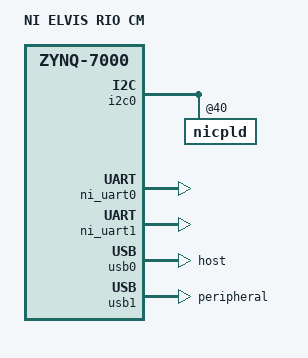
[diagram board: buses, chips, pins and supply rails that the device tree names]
/dts-v1/;
/include/ "ni-zynq.dtsi"

/ {
	model = "NI ELVIS RIO CM";
	compatible = "ni,zynq", "xlnx,zynq-7000";

	amba@0 {
		i2c0: i2c@e0004000 {
			nicpld@40 {
				watchdogs {
					boot-watchdog {
						interrupt-parent = <&gpio>;
						interrupts = <24 2 /* IRQ_TYPE_EDGE_FALLING */>;
					};
				};

				leds {
					status-1 {
						label = "nilrt:status:yellow";
						max-brightness = <0xFFFF>;
					};
				};
			};
		};
	};
};

&ni_uart0 {
	status = "okay";
	transceiver = "RS-232";
};

&ni_uart1 {
	status = "okay";
	transceiver = "RS-232";
};

&usb0 {
	status = "okay";
	dr_mode = "host";
};

&usb1 {
	status = "okay";
	dr_mode = "peripheral";
};

&clkc {
	/* Enable fclk1 for serial. */
	fclk-enable = <0x2>;
};
